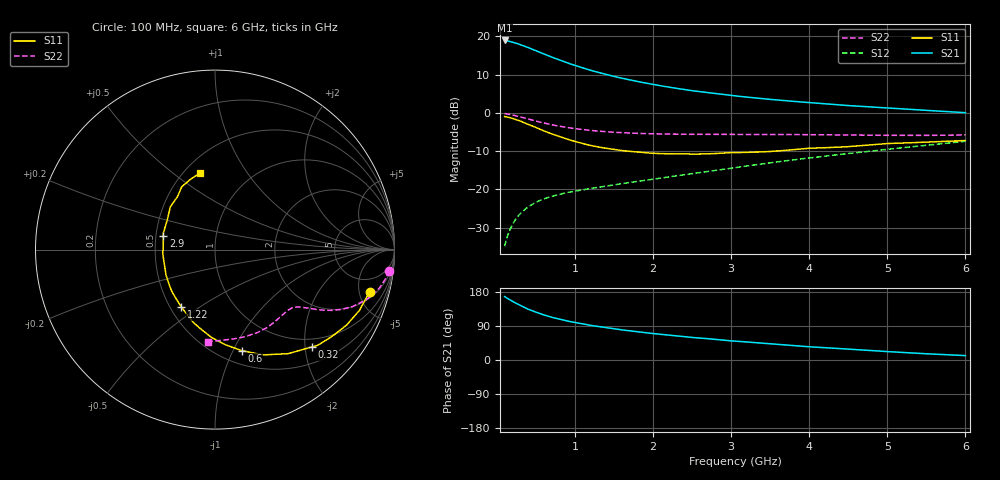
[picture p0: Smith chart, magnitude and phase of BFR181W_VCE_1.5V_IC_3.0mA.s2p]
! Infineon Technologies  Discrete & RF Semiconductors
! BFR181W
! VCE =  1.5 V,  IC =  3.0 mA
! Common Emitter S-Parameters:  Nov 2015
# GHz  S  MA  R  50
!  f  S11  S21  S12  S22
! GHz  MAG  ANG  MAG  ANG  MAG  ANG  MAG  ANG
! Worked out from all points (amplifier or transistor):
!   192 points, 100 MHz to 6 GHz, reference 50 ohm
!   highest |S21| = 18.9 dB at 100 MHz (marker M1)
!   |S21| within 3 dB of that: start of sweep to 539.2 MHz
!   unconditionally stable (mu >= 1): 1.69 GHz to 3.439 GHz
!   at 440 MHz: K = 0.39, MSG = 20.4 dB, |S12| = -24.1 dB
!   at 1.7 GHz: K = 1.00, MAG = 13.1 dB, |S12| = -18.2 dB
!   at 6 GHz: K = 0.79, MSG = 3.7 dB, |S12| = -7.5 dB
!   S11 on the Smith chart (normalised r, x): 100 MHz: 2.72, -6.30; 320 MHz: 0.82, -2.14; 600 MHz: 0.64, -1.08; 1.22 GHz: 0.57, -0.42; 2.9 GHz: 0.55, +0.09; 6 GHz: 0.60, +0.63
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0.1  0.8927 -15.3  8.811 167.2  0.0181 80.9  0.9782 -7.0
0.15  0.8732 -22.8  8.636 160.8  0.0269 77.1  0.9601 -10.3
0.2  0.8454 -29.8  8.387 154.9  0.0346 73.9  0.9385 -13.4
0.26  0.8053 -37.8  8.035 148.3  0.0431 69.6  0.907 -16.6
0.32  0.7648 -45.2  7.63 142.2  0.0503 66.2  0.8748 -19.2
0.4  0.7087 -54.9  7.129 134.2  0.059 62.4  0.8309 -22.4
0.5  0.645 -65.5  6.479 126.2  0.0678 58.7  0.7797 -25.3
0.6  0.5819 -75.2  5.893 119.1  0.0751 56.2  0.7357 -27.4
0.7  0.5328 -83.9  5.356 112.9  0.0808 54.3  0.6986 -28.9
0.8  0.4907 -92.1  4.91 107.6  0.0859 53.3  0.6675 -30.2
0.92  0.4463 -100.8  4.424 102.2  0.0916 52.6  0.6381 -31.2
1.1  0.3964 -112.6  3.868 95.4  0.0987 52.4  0.6044 -32.5
1.22  0.371 -120.4  3.545 90.8  0.1035 52.5  0.5855 -33.4
1.4  0.3442 -131.2  3.165 85.2  0.1103 53.2  0.5655 -34.4
1.6  0.3215 -142.5  2.831 79.5  0.1187 54.4  0.5499 -35.7
2.08  0.2935 -165.0  2.271 68.2  0.1392 57.1  0.5295 -39.5
2.5  0.2885 178.7  1.944 59.5  0.1605 59.2  0.5235 -43.3
2.9  0.2974 165.4  1.731 52.5  0.1829 60.5  0.5225 -47.9
3.1  0.3026 159.5  1.643 49.1  0.1952 60.9  0.5221 -50.5
4.1  0.3468 134.0  1.335 33.7  0.2642 60.1  0.5172 -64.5
5.1  0.3992 116.1  1.14 21.1  0.342 56.6  0.5071 -80.2
6  0.4343 101.4  1.004 11.6  0.424 52.0  0.5141 -94.3
